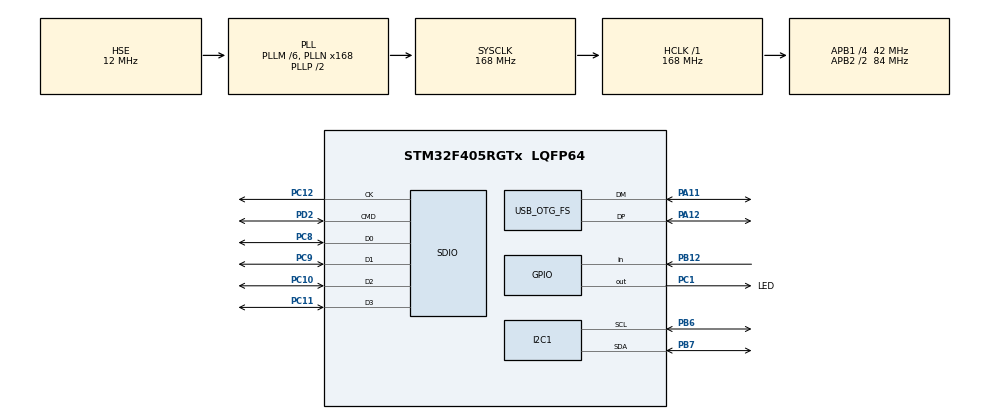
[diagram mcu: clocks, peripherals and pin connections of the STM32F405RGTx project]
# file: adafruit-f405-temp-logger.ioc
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Dma.Request0=SDIO_RX
Dma.Request1=SDIO_TX
Dma.SDIO_RX.0.Direction=DMA_PERIPH_TO_MEMORY
Dma.SDIO_RX.0.FIFOMode=DMA_FIFOMODE_ENABLE
Dma.SDIO_RX.0.FIFOThreshold=DMA_FIFO_THRESHOLD_FULL
Dma.SDIO_RX.0.Instance=DMA2_Stream3
Dma.SDIO_RX.0.MemBurst=DMA_MBURST_INC4
Dma.SDIO_RX.0.MemDataAlignment=DMA_MDATAALIGN_WORD
Dma.SDIO_RX.0.MemInc=DMA_MINC_ENABLE
Dma.SDIO_RX.0.Mode=DMA_PFCTRL
Dma.SDIO_RX.0.PeriphBurst=DMA_PBURST_INC4
Dma.SDIO_RX.0.PeriphDataAlignment=DMA_PDATAALIGN_WORD
Dma.SDIO_RX.0.PeriphInc=DMA_PINC_DISABLE
Dma.SDIO_RX.0.Priority=DMA_PRIORITY_LOW
Dma.SDIO_TX.1.Direction=DMA_MEMORY_TO_PERIPH
Dma.SDIO_TX.1.FIFOMode=DMA_FIFOMODE_ENABLE
Dma.SDIO_TX.1.FIFOThreshold=DMA_FIFO_THRESHOLD_FULL
Dma.SDIO_TX.1.Instance=DMA2_Stream6
Dma.SDIO_TX.1.MemBurst=DMA_MBURST_INC4
Dma.SDIO_TX.1.MemDataAlignment=DMA_MDATAALIGN_WORD
Dma.SDIO_TX.1.MemInc=DMA_MINC_ENABLE
Dma.SDIO_TX.1.Mode=DMA_PFCTRL
Dma.SDIO_TX.1.PeriphBurst=DMA_PBURST_INC4
Dma.SDIO_TX.1.PeriphDataAlignment=DMA_PDATAALIGN_WORD
Dma.SDIO_TX.1.PeriphInc=DMA_PINC_DISABLE
Dma.SDIO_TX.1.Priority=DMA_PRIORITY_LOW
FATFS.BSP.number=1
FATFS.USE_DMA_CODE_SD=1
FATFS0.BSP.STBoard=false
FATFS0.BSP.api=Unknown
FATFS0.BSP.i2caddr=0
FATFS0.BSP.instance=PB12
FATFS0.BSP.ip=GPIO
FATFS0.BSP.mode=Input
FATFS0.BSP.name=Detect_SDIO
FATFS0.BSP.solution=PB12
Mcu.Family=STM32F4
Mcu.Name=STM32F405RGTx
Mcu.Package=LQFP64
NVIC.DMA2_Stream3_IRQn=true\:0\:0\:false\:false\:true\:false\:true
NVIC.DMA2_Stream6_IRQn=true\:0\:0\:false\:false\:true\:false\:true
NVIC.OTG_FS_IRQn=true\:0\:0\:false\:false\:true\:false\:true
NVIC.PriorityGroup=NVIC_PRIORITYGROUP_4
NVIC.SDIO_IRQn=true\:0\:0\:false\:false\:true\:true\:true
PA11.Mode=Device_Only
PA11.Signal=USB_OTG_FS_DM
PA12.Mode=Device_Only
PA12.Signal=USB_OTG_FS_DP
PA13.Mode=Serial_Wire
PA13.Signal=SYS_JTMS-SWDIO
PA14.Mode=Serial_Wire
PA14.Signal=SYS_JTCK-SWCLK
PB12.Signal=GPIO_Input
PB6.GPIO_PuPdOD=GPIO_NOPULL
PB6.Mode=I2C
PB6.Signal=I2C1_SCL
PB7.GPIO_PuPdOD=GPIO_NOPULL
PB7.Mode=I2C
PB7.Signal=I2C1_SDA
PC1.GPIO_Label=LED
PC1.Signal=GPIO_Output
PC10.GPIO_PuPd=GPIO_PULLUP
PC10.Mode=SD_4_bits_Wide_bus
PC10.Signal=SDIO_D2
PC11.Mode=SD_4_bits_Wide_bus
PC11.Signal=SDIO_D3
PC12.Mode=SD_4_bits_Wide_bus
PC12.Signal=SDIO_CK
PC8.GPIO_PuPd=GPIO_PULLUP
PC8.Mode=SD_4_bits_Wide_bus
PC8.Signal=SDIO_D0
PC9.GPIO_PuPd=GPIO_PULLUP
PC9.Mode=SD_4_bits_Wide_bus
PC9.Signal=SDIO_D1
PD2.GPIO_PuPd=GPIO_PULLUP
PD2.Mode=SD_4_bits_Wide_bus
PD2.Signal=SDIO_CMD
PH0-OSC_IN.Mode=HSE-External-Oscillator
PH0-OSC_IN.Signal=RCC_OSC_IN
PH1-OSC_OUT.Mode=HSE-External-Oscillator
PH1-OSC_OUT.Signal=RCC_OSC_OUT
ProjectManager.HeapSize=0x200
ProjectManager.StackSize=0x400
ProjectManager.TargetToolchain=STM32CubeIDE
RCC.48MHZClocksFreq_Value=48000000
RCC.AHBFreq_Value=168000000
RCC.APB1CLKDivider=RCC_HCLK_DIV4
RCC.APB1Freq_Value=42000000
RCC.APB1TimFreq_Value=84000000
RCC.APB2CLKDivider=RCC_HCLK_DIV2
RCC.APB2Freq_Value=84000000
RCC.APB2TimFreq_Value=168000000
RCC.CortexFreq_Value=168000000
RCC.HCLKFreq_Value=168000000
RCC.HSE_VALUE=12000000
RCC.HSI_VALUE=16000000
RCC.LSE_VALUE=32768
RCC.PLLM=6
RCC.PLLN=168
RCC.PLLQ=7
RCC.SYSCLKFreq_VALUE=168000000
RCC.SYSCLKSource=RCC_SYSCLKSOURCE_PLLCLK
RCC.VCOOutputFreq_Value=336000000
USB_DEVICE.CLASS_NAME_FS=CDC
USB_DEVICE.VirtualMode-CDC_FS=Cdc
USB_DEVICE.VirtualModeFS=Cdc_FS
USB_OTG_FS.VirtualMode=Device_Only
VP_FATFS_VS_SDIO.Mode=SDIO
VP_USB_DEVICE_VS_USB_DEVICE_CDC_FS.Mode=CDC_FS
board=custom

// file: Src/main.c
/* USER CODE BEGIN Header */
/**
  ******************************************************************************
  * @file           : main.c
  * @brief          : Main program body
  ******************************************************************************
  * @attention
  *
  * <h2><center>&copy; Copyright (c) 2019 STMicroelectronics.
  * All rights reserved.</center></h2>
  *
  * This software component is licensed by ST under BSD 3-Clause license,
  * the "License"; You may not use this file except in compliance with the
  * License. You may obtain a copy of the License at:
  *                        opensource.org/licenses/BSD-3-Clause
  *
  ******************************************************************************
  */
/* USER CODE END Header */

#include "main.h"
#include "fatfs.h"
#include "usb_device.h"

/* USER CODE BEGIN Includes */
#include <string.h>
#include <stdio.h>
#include "usbd_cdc_if.h"
/* USER CODE END Includes */

I2C_HandleTypeDef hi2c1;

SD_HandleTypeDef hsd;
DMA_HandleTypeDef hdma_sdio_rx;
DMA_HandleTypeDef hdma_sdio_tx;

/* USER CODE BEGIN PV */
static const uint32_t I2C_DELAY = 1000;         // Time (ms) to wait for I2C
static const uint8_t PCT_I2C_ADDR = 0x37 << 1;  // Use 8-bit address
static const uint8_t PCT_REG_TEMP = 0x00;       // Temperature register
static const uint16_t PCT_ERROR = 0xFFFF;        // I2C/PCT error code
/* USER CODE END PV */

void SystemClock_Config(void);
static void MX_GPIO_Init(void);
static void MX_DMA_Init(void);
static void MX_SDIO_SD_Init(void);
static void MX_I2C1_Init(void);
/* USER CODE BEGIN PFP */
uint16_t ReadPCTTemperature(uint8_t i2c_addr);
FRESULT AppendToFile(char* path, size_t path_len, char* msg, size_t msg_len);
void BlinkLED(uint32_t blink_delay, uint8_t num_blinks);
/* USER CODE END PFP */

int main(void)
{
  /* USER CODE BEGIN 1 */
  FRESULT fres;
  uint16_t raw_temp;
  float temp_c;
  char log_path[] = "/TEMPLOG.TXT";
  char buf[20];
  /* USER CODE END 1 */

  /* MCU Configuration--------------------------------------------------------*/

  /* Reset of all peripherals, Initializes the Flash interface and the Systick. */
  HAL_Init();

  /* Configure the system clock */
  SystemClock_Config();

  /* Initialize all configured peripherals */
  MX_GPIO_Init();
  MX_DMA_Init();
  MX_SDIO_SD_Init();
  MX_FATFS_Init();
  MX_USB_DEVICE_Init();
  MX_I2C1_Init();

  /* Infinite loop */
  /* USER CODE BEGIN WHILE */
  while (1)
  {

    // Attempt to read temperature from sensor
    raw_temp = ReadPCTTemperature(PCT_I2C_ADDR);
    if ( raw_temp == PCT_ERROR ) {
      BlinkLED(100, 5);
    } else {

      // Convert raw to 2's complement, since temperature can be negative
      if ( raw_temp > 0x3FF ) {
        raw_temp |= 0xF800;
      }

      // Convert to float temperature value (Celsius)
      temp_c = (int16_t)raw_temp * 0.125;

      // Convert temperature to decimal format (without float conversion)
      temp_c *= 100;
      sprintf((char*)buf,
            "%u.%02u C\r\n",
            ((unsigned int)temp_c / 100),
            ((unsigned int)temp_c % 100));

      // Print temperature to console
      CDC_Transmit_FS((uint8_t*)buf, strlen(buf));

      // Turn LED on while writing to file
      HAL_GPIO_WritePin(LED_GPIO_Port, LED_Pin, GPIO_PIN_SET);
      fres = AppendToFile(log_path, strlen(log_path), buf, strlen(buf));
      HAL_GPIO_WritePin(LED_GPIO_Port, LED_Pin, GPIO_PIN_RESET);

      // If error writing to card, blink 3 times
      if ( fres != FR_OK) {
        BlinkLED(200, 3);
      }
    }

    // Wait before sampling again
    HAL_Delay(1000);

    /* USER CODE END WHILE */

  }
}

void SystemClock_Config(void)
{
  RCC_OscInitTypeDef RCC_OscInitStruct = {0};
  RCC_ClkInitTypeDef RCC_ClkInitStruct = {0};

  /** Configure the main internal regulator output voltage
  */
  __HAL_RCC_PWR_CLK_ENABLE();
  __HAL_PWR_VOLTAGESCALING_CONFIG(PWR_REGULATOR_VOLTAGE_SCALE1);
  /** Initializes the CPU, AHB and APB busses clocks
  */
  RCC_OscInitStruct.OscillatorType = RCC_OSCILLATORTYPE_HSE;
  RCC_OscInitStruct.HSEState = RCC_HSE_ON;
  RCC_OscInitStruct.PLL.PLLState = RCC_PLL_ON;
  RCC_OscInitStruct.PLL.PLLSource = RCC_PLLSOURCE_HSE;
  RCC_OscInitStruct.PLL.PLLM = 6;
  RCC_OscInitStruct.PLL.PLLN = 168;
  RCC_OscInitStruct.PLL.PLLP = RCC_PLLP_DIV2;
  RCC_OscInitStruct.PLL.PLLQ = 7;
  if (HAL_RCC_OscConfig(&RCC_OscInitStruct) != HAL_OK)
  {
    Error_Handler();
  }
  /** Initializes the CPU, AHB and APB busses clocks
  */
  RCC_ClkInitStruct.ClockType = RCC_CLOCKTYPE_HCLK|RCC_CLOCKTYPE_SYSCLK
                              |RCC_CLOCKTYPE_PCLK1|RCC_CLOCKTYPE_PCLK2;
  RCC_ClkInitStruct.SYSCLKSource = RCC_SYSCLKSOURCE_PLLCLK;
  RCC_ClkInitStruct.AHBCLKDivider = RCC_SYSCLK_DIV1;
  RCC_ClkInitStruct.APB1CLKDivider = RCC_HCLK_DIV4;
  RCC_ClkInitStruct.APB2CLKDivider = RCC_HCLK_DIV2;

  if (HAL_RCC_ClockConfig(&RCC_ClkInitStruct, FLASH_LATENCY_5) != HAL_OK)
  {
    Error_Handler();
  }
}

static void MX_I2C1_Init(void)
{

  hi2c1.Instance = I2C1;
  hi2c1.Init.ClockSpeed = 100000;
  hi2c1.Init.DutyCycle = I2C_DUTYCYCLE_2;
  hi2c1.Init.OwnAddress1 = 0;
  hi2c1.Init.AddressingMode = I2C_ADDRESSINGMODE_7BIT;
  hi2c1.Init.DualAddressMode = I2C_DUALADDRESS_DISABLE;
  hi2c1.Init.OwnAddress2 = 0;
  hi2c1.Init.GeneralCallMode = I2C_GENERALCALL_DISABLE;
  hi2c1.Init.NoStretchMode = I2C_NOSTRETCH_DISABLE;
  if (HAL_I2C_Init(&hi2c1) != HAL_OK)
  {
    Error_Handler();
  }

}

static void MX_SDIO_SD_Init(void)
{

  hsd.Instance = SDIO;
  hsd.Init.ClockEdge = SDIO_CLOCK_EDGE_RISING;
  hsd.Init.ClockBypass = SDIO_CLOCK_BYPASS_DISABLE;
  hsd.Init.ClockPowerSave = SDIO_CLOCK_POWER_SAVE_DISABLE;
  hsd.Init.BusWide = SDIO_BUS_WIDE_1B;
  hsd.Init.HardwareFlowControl = SDIO_HARDWARE_FLOW_CONTROL_DISABLE;
  hsd.Init.ClockDiv = 0;

}

static void MX_DMA_Init(void)
{

  /* DMA controller clock enable */
  __HAL_RCC_DMA2_CLK_ENABLE();

  /* DMA interrupt init */
  /* DMA2_Stream3_IRQn interrupt configuration */
  HAL_NVIC_SetPriority(DMA2_Stream3_IRQn, 0, 0);
  HAL_NVIC_EnableIRQ(DMA2_Stream3_IRQn);
  /* DMA2_Stream6_IRQn interrupt configuration */
  HAL_NVIC_SetPriority(DMA2_Stream6_IRQn, 0, 0);
  HAL_NVIC_EnableIRQ(DMA2_Stream6_IRQn);

}

static void MX_GPIO_Init(void)
{
  GPIO_InitTypeDef GPIO_InitStruct = {0};

  /* GPIO Ports Clock Enable */
  __HAL_RCC_GPIOH_CLK_ENABLE();
  __HAL_RCC_GPIOC_CLK_ENABLE();
  __HAL_RCC_GPIOB_CLK_ENABLE();
  __HAL_RCC_GPIOA_CLK_ENABLE();
  __HAL_RCC_GPIOD_CLK_ENABLE();

  /*Configure GPIO pin Output Level */
  HAL_GPIO_WritePin(LED_GPIO_Port, LED_Pin, GPIO_PIN_RESET);

  /*Configure GPIO pin : LED_Pin */
  GPIO_InitStruct.Pin = LED_Pin;
  GPIO_InitStruct.Mode = GPIO_MODE_OUTPUT_PP;
  GPIO_InitStruct.Pull = GPIO_NOPULL;
  GPIO_InitStruct.Speed = GPIO_SPEED_FREQ_LOW;
  HAL_GPIO_Init(LED_GPIO_Port, &GPIO_InitStruct);

  /*Configure GPIO pin : PB12 */
  GPIO_InitStruct.Pin = GPIO_PIN_12;
  GPIO_InitStruct.Mode = GPIO_MODE_INPUT;
  GPIO_InitStruct.Pull = GPIO_NOPULL;
  HAL_GPIO_Init(GPIOB, &GPIO_InitStruct);

}

/* USER CODE BEGIN 4 */

// Read temperature from PCT2075
uint16_t ReadPCTTemperature(uint8_t i2c_addr) {

  HAL_StatusTypeDef ret;
  uint8_t buf[2];
  uint16_t val;

  // Tell PCT2075 that we want to read from the temperature register
  buf[0] = PCT_REG_TEMP;
  ret = HAL_I2C_Master_Transmit(&hi2c1, PCT_I2C_ADDR, buf, 1, I2C_DELAY);

  // If the I2C device has just been hot-plugged, reset the peripheral
  if ( ret == HAL_BUSY ) {
    if (HAL_I2C_DeInit(&hi2c1) != HAL_OK){
      Error_Handler();
    }
    MX_I2C1_Init();
  }

  // Throw error if communication not OK
  if ( ret != HAL_OK ) {
    return PCT_ERROR;
  }

  // Read 2 bytes from the temperature register
  ret = HAL_I2C_Master_Receive(&hi2c1, PCT_I2C_ADDR, buf, 2, I2C_DELAY);
  if ( ret != HAL_OK ) {
    return PCT_ERROR;
  }

  // Combine the bytes and return raw value
  val = ((uint16_t)buf[0] << 3) | (buf[1] >> 5);

  return val;
}

// Append string to file given at path
FRESULT AppendToFile(char* path, size_t path_len, char* msg, size_t msg_len) {

  FATFS fs;
  FIL myFILE;
  UINT testByte;
  FRESULT stat;

  // Bounds check on strings
  if ( (path[path_len] != 0) || (msg[msg_len] != 0) ) {
    return FR_INVALID_NAME;
  }

  // Re-initialize SD
  if ( BSP_SD_Init() != MSD_OK ) {
    return FR_NOT_READY;
  }

  // Re-initialize FATFS
  if ( FATFS_UnLinkDriver(SDPath) != 0 ) {
    return FR_NOT_READY;
  }
  if ( FATFS_LinkDriver(&SD_Driver, SDPath) != 0 ) {
    return FR_NOT_READY;
  }

  // Mount filesystem
  stat = f_mount(&fs, SDPath, 0);
  if (stat != FR_OK) {
    f_mount(0, SDPath, 0);
    return stat;
  }

  // Open file for appending
  stat = f_open(&myFILE, path, FA_WRITE | FA_OPEN_APPEND);
  if (stat != FR_OK) {
    f_mount(0, SDPath, 0);
    return stat;
  }

  // Write message to end of file
  stat = f_write(&myFILE, msg, msg_len, &testByte);
  if (stat != FR_OK) {
    f_mount(0, SDPath, 0);
    return stat;
  }

  // Sync, close file, unmount
  stat = f_close(&myFILE);
  f_mount(0, SDPath, 0);

  return stat;
}

// Blink onboard LED
void BlinkLED(uint32_t blink_delay, uint8_t num_blinks) {
  for ( int i = 0; i < num_blinks; i++ ) {
    HAL_GPIO_WritePin(LED_GPIO_Port, LED_Pin, GPIO_PIN_SET);
    HAL_Delay(blink_delay);
    HAL_GPIO_WritePin(LED_GPIO_Port, LED_Pin, GPIO_PIN_RESET);
    HAL_Delay(blink_delay);
  }
}

/* USER CODE END 4 */

void Error_Handler(void)
{
}

/************************ (C) COPYRIGHT STMicroelectronics *****END OF FILE****/
